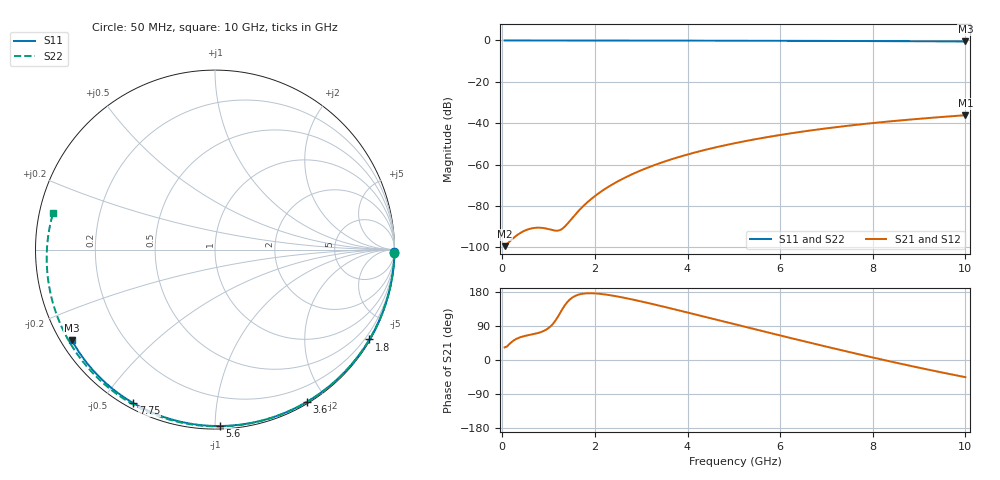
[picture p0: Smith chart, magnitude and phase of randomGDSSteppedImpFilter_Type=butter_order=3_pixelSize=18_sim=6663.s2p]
! freq	dB(S11)	phase(S11)	dB(S12)	phase(S12)
!  dB(S21)	phase(S21)	dB(S22)	phase(S22)
!S-par simulation data
#  GHz  S  DB  R 50
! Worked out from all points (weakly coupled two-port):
!   200 points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, 50 MHz to 10 GHz, reference 50 ohm
!   highest |S21| = -36.11 dB at 10 GHz (marker M1); lowest = -99.4 dB at 50 MHz (marker M2)
!   lowest |S11| = -0.5 dB at 10 GHz (marker M3), VSWR 34.74, Z = 1.56 - j14.4 ohm
!   |S11| at or under -10 dB: nowhere
!   |S22| runs from -0.7 to 0.0 dB; largest |S21 - S12| = 0
!   S11 on the Smith chart (normalised r, x): 50 MHz: open; 1.8 GHz: 0.03, -3.71; 3.6 GHz: 0.02, -1.77; 5.6 GHz: 0.02, -1.03; 7.75 GHz: 0.02, -0.60; 10 GHz: 0.03, -0.29
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0.05  -0.00 -0.9  -99.38 33.3  -99.38 33.3  -0.00 -1.0
0.45  -0.01 -7.7  -92.24 62.3  -92.24 62.3  -0.01 -9.4
0.85  -0.02 -14.4  -90.51 74.4  -90.51 74.4  -0.02 -17.6
1.3  -0.03 -21.9  -90.89 134.8  -90.89 134.8  -0.03 -26.8
1.75  -0.04 -29.4  -79.99 175.1  -79.99 175.1  -0.05 -35.9
1.8  -0.04 -30.2  -78.93 175.8  -78.93 175.8  -0.05 -36.9
2.1  -0.04 -35.1  -73.52 174.7  -73.52 174.7  -0.05 -42.9
2.45  -0.05 -40.8  -68.61 168.4  -68.61 168.4  -0.06 -49.8
2.9  -0.06 -48.0  -63.66 157.3  -63.66 157.3  -0.08 -58.6
3.4  -0.07 -55.8  -59.29 143.2  -59.29 143.2  -0.09 -68.2
3.6  -0.08 -58.9  -57.78 137.3  -57.78 137.3  -0.10 -71.9
4.3  -0.10 -69.6  -53.30 116.2  -53.30 116.2  -0.12 -84.9
5.05  -0.12 -80.6  -49.49 93.4  -49.49 93.4  -0.15 -98.6
5.6  -0.15 -88.5  -47.16 76.7  -47.16 76.7  -0.18 -108.4
6.15  -0.17 -96.3  -45.13 60.2  -45.13 60.2  -0.21 -118.1
6.7  -0.20 -103.9  -43.35 43.9  -43.35 43.9  -0.25 -127.9
7.75  -0.27 -118.0  -40.49 13.6  -40.49 13.6  -0.35 -146.8
8.35  -0.32 -126.0  -39.13 -3.0  -39.13 -3.0  -0.41 -158.1
8.8  -0.37 -131.9  -38.22 -15.1  -38.22 -15.1  -0.47 -166.9
9.2  -0.41 -137.2  -37.47 -25.5  -37.47 -25.5  -0.53 -175.1
9.6  -0.45 -142.5  -36.77 -35.6  -36.77 -35.6  -0.60 176.3
10  -0.50 -147.8  -36.11 -45.3  -36.11 -45.3  -0.68 167.1
